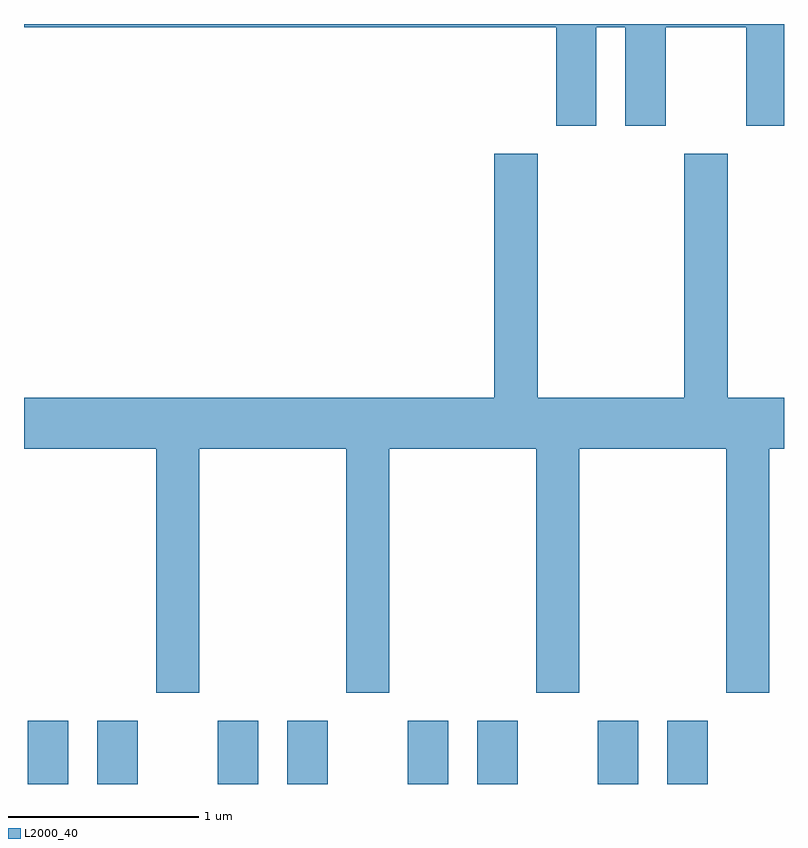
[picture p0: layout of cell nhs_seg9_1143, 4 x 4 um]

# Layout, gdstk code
import gdstk
lib = gdstk.Library(unit=1e-6, precision=1e-09)
def R(c, l, rs):  # rectangles x0, y0, x1, y1
    for r in rs: c.add(gdstk.rectangle(r[:2], r[2:], *l))
def P(c, l, *ps):  # polygons
    for p in ps: c.add(gdstk.Polygon(p, *l))
L2000_40 = (2000, 40)

nhs_seg9_1143 = lib.new_cell('nhs_seg9_1143')
R(nhs_seg9_1143, L2000_40, [(217.631,2054.432,217.844,2054.764), (217.996,2054.432,218.209,2054.764), (218.631,2054.432,218.844,2054.764), (218.996,2054.432,219.209,2054.764), (219.631,2054.432,219.844,2054.764), (219.996,2054.432,220.209,2054.764), (220.631,2054.432,220.844,2054.764), (220.996,2054.432,221.209,2054.764)])
P(nhs_seg9_1143, L2000_40, [(220.624,2058.416),(220.776,2058.416),(220.776,2057.896),(220.989,2057.896),(220.989,2058.416),(221.411,2058.416),(221.411,2057.896),(221.611,2057.896),(221.611,2058.432),(217.611,2058.432),(217.611,2058.416),(220.411,2058.416),(220.411,2057.896),(220.624,2057.896)],
  [(218.534,2056.196),(219.306,2056.196),(219.306,2054.911),(219.534,2054.911),(219.534,2056.196),(220.306,2056.196),(220.306,2054.911),(220.534,2054.911),(220.534,2056.196),(221.306,2056.196),(221.306,2054.911),(221.534,2054.911),(221.534,2056.196),(221.611,2056.196),(221.611,2056.464),(221.314,2056.464),(221.314,2057.749),(221.086,2057.749),(221.086,2056.464),(220.314,2056.464),(220.314,2057.749),(220.086,2057.749),(220.086,2056.464),(217.611,2056.464),(217.611,2056.196),(218.306,2056.196),(218.306,2054.911),(218.534,2054.911)])

lib.write_gds('nhs_seg9_1143.gds')
